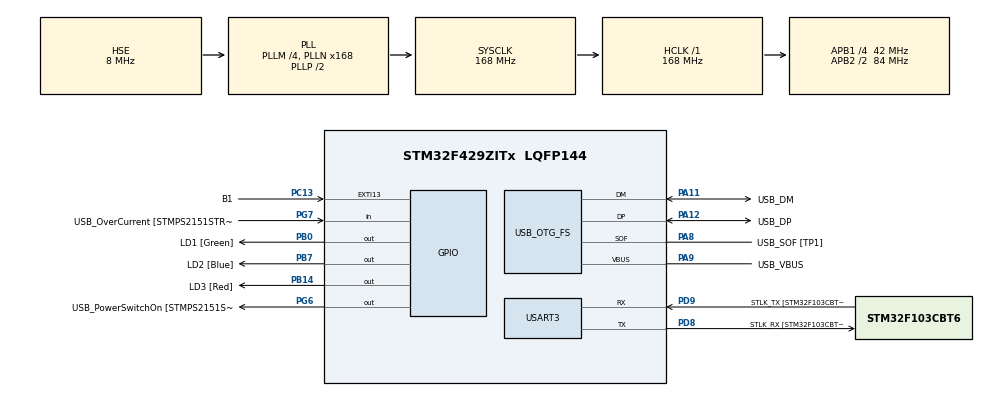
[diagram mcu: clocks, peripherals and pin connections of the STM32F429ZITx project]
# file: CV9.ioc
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Mcu.Family=STM32F4
Mcu.Name=STM32F429ZITx
Mcu.Package=LQFP144
NVIC.OTG_FS_IRQn=true\:0\:0\:false\:false\:true\:false\:true\:true
NVIC.PriorityGroup=NVIC_PRIORITYGROUP_4
PA1.GPIO_Label=RMII_REF_CLK [LAN8742A-CZ-TR_REFCLK0]
PA1.Signal=ETH_REF_CLK
PA10.GPIO_Label=USB_ID
PA10.Signal=USB_OTG_FS_ID
PA11.GPIO_Label=USB_DM
PA11.Mode=Device_Only
PA11.Signal=USB_OTG_FS_DM
PA12.GPIO_Label=USB_DP
PA12.Mode=Device_Only
PA12.Signal=USB_OTG_FS_DP
PA13.GPIO_Label=TMS
PA13.Mode=Serial_Wire
PA13.Signal=SYS_JTMS-SWDIO
PA14.GPIO_Label=TCK
PA14.Mode=Serial_Wire
PA14.Signal=SYS_JTCK-SWCLK
PA2.GPIO_Label=RMII_MDIO [LAN8742A-CZ-TR_MDIO]
PA2.Signal=ETH_MDIO
PA7.GPIO_Label=RMII_CRS_DV [LAN8742A-CZ-TR_CRS_DV]
PA7.Signal=ETH_CRS_DV
PA8.GPIO_Label=USB_SOF [TP1]
PA8.Mode=Activate_SOF_FS
PA8.Signal=USB_OTG_FS_SOF
PA9.GPIO_Label=USB_VBUS
PA9.Mode=Activate_VBUS
PA9.Signal=USB_OTG_FS_VBUS
PB0.GPIO_Label=LD1 [Green]
PB0.Signal=GPIO_Output
PB13.GPIO_Label=RMII_TXD1 [LAN8742A-CZ-TR_TXD1]
PB13.Signal=ETH_TXD1
PB14.GPIO_Label=LD3 [Red]
PB14.Signal=GPIO_Output
PB7.GPIO_Label=LD2 [Blue]
PB7.Signal=GPIO_Output
PC1.GPIO_Label=RMII_MDC [LAN8742A-CZ-TR_MDC]
PC1.Signal=ETH_MDC
PC13.GPIO_Label=B1
PC13.Signal=GPXTI13
PC14/OSC32_IN.Mode=LSE-External-Oscillator
PC14/OSC32_IN.Signal=RCC_OSC32_IN
PC15/OSC32_OUT.Mode=LSE-External-Oscillator
PC15/OSC32_OUT.Signal=RCC_OSC32_OUT
PC4.GPIO_Label=RMII_RXD0 [LAN8742A-CZ-TR_RXD0]
PC4.Signal=ETH_RXD0
PC5.GPIO_Label=RMII_RXD1 [LAN8742A-CZ-TR_RXD1]
PC5.Signal=ETH_RXD1
PD8.GPIO_Label=STLK_RX [STM32F103CBT6_PA3]
PD8.Mode=Asynchronous
PD8.Signal=USART3_TX
PD9.GPIO_Label=STLK_TX [STM32F103CBT6_PA2]
PD9.Mode=Asynchronous
PD9.Signal=USART3_RX
PG11.GPIO_Label=RMII_TX_EN [LAN8742A-CZ-TR_TXEN]
PG11.Signal=ETH_TX_EN
PG13.GPIO_Label=RMII_TXD0 [LAN8742A-CZ-TR_TXD0]
PG13.Signal=ETH_TXD0
PG6.GPIO_Label=USB_PowerSwitchOn [STMPS2151STR_EN]
PG6.Signal=GPIO_Output
PG7.GPIO_Label=USB_OverCurrent [STMPS2151STR_FAULT]
PG7.Signal=GPIO_Input
PH0/OSC_IN.GPIO_Label=MCO [STM32F103CBT6_PA8]
PH0/OSC_IN.Mode=HSE-External-Clock-Source
PH0/OSC_IN.Signal=RCC_OSC_IN
PH1/OSC_OUT.Mode=HSE-External-Clock-Source
PH1/OSC_OUT.Signal=RCC_OSC_OUT
ProjectManager.HeapSize=0x200
ProjectManager.StackSize=0x400
ProjectManager.TargetToolchain=STM32CubeIDE
RCC.48MHZClocksFreq_Value=48000000
RCC.AHBFreq_Value=168000000
RCC.APB1CLKDivider=RCC_HCLK_DIV4
RCC.APB1Freq_Value=42000000
RCC.APB1TimFreq_Value=84000000
RCC.APB2CLKDivider=RCC_HCLK_DIV2
RCC.APB2Freq_Value=84000000
RCC.APB2TimCLKDivider=2
RCC.APB2TimFreq_Value=168000000
RCC.CortexFreq_Value=168000000
RCC.HCLKFreq_Value=168000000
RCC.HSE_VALUE=8000000
RCC.HSI_VALUE=16000000
RCC.PLLM=4
RCC.PLLMUL=RCC_PLL_MUL9
RCC.PLLN=168
RCC.PLLQ=7
RCC.PRESCALERUSB=RCC_USBCLKSOURCE_PLL_DIV1_5
RCC.SYSCLKFreq_VALUE=168000000
RCC.SYSCLKSource=RCC_SYSCLKSOURCE_PLLCLK
RCC.SYSCLKSourceVirtual=RCC_SYSCLKSOURCE_PLLCLK
RCC.USBFreq_Value=48000000
RCC.VCOOutputFreq_Value=336000000
USART3.VirtualMode=VM_ASYNC
USB_DEVICE.CLASS_NAME_FS=HID
USB_DEVICE.VirtualMode-HID_FS=Hid
USB_DEVICE.VirtualModeFS=Hid_FS
USB_OTG_FS.VirtualMode=Device_Only
VP_USB_DEVICE_VS_USB_DEVICE_HID_FS.Mode=HID_FS
board=NUCLEO-F429ZI

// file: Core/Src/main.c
/* USER CODE BEGIN Header */
/**
  ******************************************************************************
  * @file           : main.c
  * @brief          : Main program body
  ******************************************************************************
  * @attention
  *
  * Copyright (c) 2025 STMicroelectronics.
  * All rights reserved.
  *
  * This software is licensed under terms that can be found in the LICENSE file
  * in the root directory of this software component.
  * If no LICENSE file comes with this software, it is provided AS-IS.
  *
  ******************************************************************************
  */
/* USER CODE END Header */
#include "main.h"
#include "usb_device.h"

/* USER CODE BEGIN Includes */
#include "usbd_hid.h"
#include <stdbool.h>
#include <stdint.h>
#include <math.h>
/* USER CODE END Includes */

UART_HandleTypeDef huart3;

/* USER CODE BEGIN PV */
extern USBD_HandleTypeDef hUsbDeviceFS;

/* USER CODE END PV */

void SystemClock_Config(void);
static void MX_GPIO_Init(void);
static void MX_USART3_UART_Init(void);
/* USER CODE BEGIN PFP */

void step(int x, int y, bool btn);
void circle(int radius, int divide);
void smiley(void);

/* USER CODE END PFP */

int main(void)
{

  /* MCU Configuration--------------------------------------------------------*/

  /* Reset of all peripherals, Initializes the Flash interface and the Systick. */
  HAL_Init();

  /* Configure the system clock */
  SystemClock_Config();

  /* Initialize all configured peripherals */
  MX_GPIO_Init();
  MX_USART3_UART_Init();
  MX_USB_DEVICE_Init();

  /* Infinite loop */
  /* USER CODE BEGIN WHILE */
  while (1)
  {

	  static uint8_t end = 1;

	  uint8_t now = HAL_GPIO_ReadPin(B1_GPIO_Port, B1_Pin);

	  if (end == 1 && now == 0){
		  smiley();
	  }

	  end = now;

    /* USER CODE END WHILE */

  }
}

void SystemClock_Config(void)
{
  RCC_OscInitTypeDef RCC_OscInitStruct = {0};
  RCC_ClkInitTypeDef RCC_ClkInitStruct = {0};

  /** Configure the main internal regulator output voltage
  */
  __HAL_RCC_PWR_CLK_ENABLE();
  __HAL_PWR_VOLTAGESCALING_CONFIG(PWR_REGULATOR_VOLTAGE_SCALE1);

  /** Initializes the RCC Oscillators according to the specified parameters
  * in the RCC_OscInitTypeDef structure.
  */
  RCC_OscInitStruct.OscillatorType = RCC_OSCILLATORTYPE_HSE;
  RCC_OscInitStruct.HSEState = RCC_HSE_BYPASS;
  RCC_OscInitStruct.PLL.PLLState = RCC_PLL_ON;
  RCC_OscInitStruct.PLL.PLLSource = RCC_PLLSOURCE_HSE;
  RCC_OscInitStruct.PLL.PLLM = 4;
  RCC_OscInitStruct.PLL.PLLN = 168;
  RCC_OscInitStruct.PLL.PLLP = RCC_PLLP_DIV2;
  RCC_OscInitStruct.PLL.PLLQ = 7;
  if (HAL_RCC_OscConfig(&RCC_OscInitStruct) != HAL_OK)
  {
    Error_Handler();
  }

  /** Initializes the CPU, AHB and APB buses clocks
  */
  RCC_ClkInitStruct.ClockType = RCC_CLOCKTYPE_HCLK|RCC_CLOCKTYPE_SYSCLK
                              |RCC_CLOCKTYPE_PCLK1|RCC_CLOCKTYPE_PCLK2;
  RCC_ClkInitStruct.SYSCLKSource = RCC_SYSCLKSOURCE_PLLCLK;
  RCC_ClkInitStruct.AHBCLKDivider = RCC_SYSCLK_DIV1;
  RCC_ClkInitStruct.APB1CLKDivider = RCC_HCLK_DIV4;
  RCC_ClkInitStruct.APB2CLKDivider = RCC_HCLK_DIV2;

  if (HAL_RCC_ClockConfig(&RCC_ClkInitStruct, FLASH_LATENCY_5) != HAL_OK)
  {
    Error_Handler();
  }
}

static void MX_USART3_UART_Init(void)
{

  huart3.Instance = USART3;
  huart3.Init.BaudRate = 115200;
  huart3.Init.WordLength = UART_WORDLENGTH_8B;
  huart3.Init.StopBits = UART_STOPBITS_1;
  huart3.Init.Parity = UART_PARITY_NONE;
  huart3.Init.Mode = UART_MODE_TX_RX;
  huart3.Init.HwFlowCtl = UART_HWCONTROL_NONE;
  huart3.Init.OverSampling = UART_OVERSAMPLING_16;
  if (HAL_UART_Init(&huart3) != HAL_OK)
  {
    Error_Handler();
  }

}

static void MX_GPIO_Init(void)
{
  GPIO_InitTypeDef GPIO_InitStruct = {0};

  /* GPIO Ports Clock Enable */
  __HAL_RCC_GPIOC_CLK_ENABLE();
  __HAL_RCC_GPIOH_CLK_ENABLE();
  __HAL_RCC_GPIOA_CLK_ENABLE();
  __HAL_RCC_GPIOB_CLK_ENABLE();
  __HAL_RCC_GPIOD_CLK_ENABLE();
  __HAL_RCC_GPIOG_CLK_ENABLE();

  /*Configure GPIO pin Output Level */
  HAL_GPIO_WritePin(GPIOB, LD1_Pin|LD3_Pin|LD2_Pin, GPIO_PIN_RESET);

  /*Configure GPIO pin Output Level */
  HAL_GPIO_WritePin(USB_PowerSwitchOn_GPIO_Port, USB_PowerSwitchOn_Pin, GPIO_PIN_RESET);

  /*Configure GPIO pin : B1_Pin */
  GPIO_InitStruct.Pin = B1_Pin;
  GPIO_InitStruct.Mode = GPIO_MODE_IT_RISING;
  GPIO_InitStruct.Pull = GPIO_NOPULL;
  HAL_GPIO_Init(B1_GPIO_Port, &GPIO_InitStruct);

  /*Configure GPIO pins : RMII_MDC_Pin RMII_RXD0_Pin RMII_RXD1_Pin */
  GPIO_InitStruct.Pin = RMII_MDC_Pin|RMII_RXD0_Pin|RMII_RXD1_Pin;
  GPIO_InitStruct.Mode = GPIO_MODE_AF_PP;
  GPIO_InitStruct.Pull = GPIO_NOPULL;
  GPIO_InitStruct.Speed = GPIO_SPEED_FREQ_VERY_HIGH;
  GPIO_InitStruct.Alternate = GPIO_AF11_ETH;
  HAL_GPIO_Init(GPIOC, &GPIO_InitStruct);

  /*Configure GPIO pins : RMII_REF_CLK_Pin RMII_MDIO_Pin RMII_CRS_DV_Pin */
  GPIO_InitStruct.Pin = RMII_REF_CLK_Pin|RMII_MDIO_Pin|RMII_CRS_DV_Pin;
  GPIO_InitStruct.Mode = GPIO_MODE_AF_PP;
  GPIO_InitStruct.Pull = GPIO_NOPULL;
  GPIO_InitStruct.Speed = GPIO_SPEED_FREQ_VERY_HIGH;
  GPIO_InitStruct.Alternate = GPIO_AF11_ETH;
  HAL_GPIO_Init(GPIOA, &GPIO_InitStruct);

  /*Configure GPIO pins : LD1_Pin LD3_Pin LD2_Pin */
  GPIO_InitStruct.Pin = LD1_Pin|LD3_Pin|LD2_Pin;
  GPIO_InitStruct.Mode = GPIO_MODE_OUTPUT_PP;
  GPIO_InitStruct.Pull = GPIO_NOPULL;
  GPIO_InitStruct.Speed = GPIO_SPEED_FREQ_LOW;
  HAL_GPIO_Init(GPIOB, &GPIO_InitStruct);

  /*Configure GPIO pin : RMII_TXD1_Pin */
  GPIO_InitStruct.Pin = RMII_TXD1_Pin;
  GPIO_InitStruct.Mode = GPIO_MODE_AF_PP;
  GPIO_InitStruct.Pull = GPIO_NOPULL;
  GPIO_InitStruct.Speed = GPIO_SPEED_FREQ_VERY_HIGH;
  GPIO_InitStruct.Alternate = GPIO_AF11_ETH;
  HAL_GPIO_Init(RMII_TXD1_GPIO_Port, &GPIO_InitStruct);

  /*Configure GPIO pin : USB_PowerSwitchOn_Pin */
  GPIO_InitStruct.Pin = USB_PowerSwitchOn_Pin;
  GPIO_InitStruct.Mode = GPIO_MODE_OUTPUT_PP;
  GPIO_InitStruct.Pull = GPIO_NOPULL;
  GPIO_InitStruct.Speed = GPIO_SPEED_FREQ_LOW;
  HAL_GPIO_Init(USB_PowerSwitchOn_GPIO_Port, &GPIO_InitStruct);

  /*Configure GPIO pin : USB_OverCurrent_Pin */
  GPIO_InitStruct.Pin = USB_OverCurrent_Pin;
  GPIO_InitStruct.Mode = GPIO_MODE_INPUT;
  GPIO_InitStruct.Pull = GPIO_NOPULL;
  HAL_GPIO_Init(USB_OverCurrent_GPIO_Port, &GPIO_InitStruct);

  /*Configure GPIO pins : RMII_TX_EN_Pin RMII_TXD0_Pin */
  GPIO_InitStruct.Pin = RMII_TX_EN_Pin|RMII_TXD0_Pin;
  GPIO_InitStruct.Mode = GPIO_MODE_AF_PP;
  GPIO_InitStruct.Pull = GPIO_NOPULL;
  GPIO_InitStruct.Speed = GPIO_SPEED_FREQ_VERY_HIGH;
  GPIO_InitStruct.Alternate = GPIO_AF11_ETH;
  HAL_GPIO_Init(GPIOG, &GPIO_InitStruct);

}

/* USER CODE BEGIN 4 */

void step(int x, int y, bool btn){

	  uint8_t buff[4];
	  buff[0] = btn ? 0x01 : 0x00;
	  buff[1] = (int8_t)x;
	  buff[2] = (int8_t)y;
	  buff[3] = 0; // no scroll

	  USBD_HID_SendReport(&hUsbDeviceFS, buff, sizeof(buff));
	  HAL_Delay(USBD_HID_GetPollingInterval(&hUsbDeviceFS));

}

void circle(int radius, int divide)
{
	const int steps = 50;
	float angle_step = 2.0f * M_PI / steps;

	// calculate start step
	float a0 = 0;
	int start_x = radius * cosf(a0);
	int start_y = radius * sinf(a0);

	// move to start
	step(start_x, start_y, false);

	step(0, 0, true);

	int draw_x = start_x;
	int draw_y = start_y;

	for (int i = 1; i <= steps/divide; i++)
	{
		float a = i * angle_step;
		int x = radius * cosf(a);
		int y = radius * sinf(a);
		// draw half circle
		step(x - draw_x, y - draw_y, true);

		draw_x = x;
		draw_y = y;
	}

	step(0, 0, false);
}

void smiley(void)
{
    // circle
    step(0, 0, false);
    circle(80, 1);

    // left eye
    step(-65, -15, false);
    circle(8, 1);

    // right eye
    step(40, 0, false);
    circle(8, 1);

    // nose
    step(-20, 25, false);
    step(0, 0, true);
    step(0, -15, true);
    step(0, 0, false);

    // mouth
    step(-20, 20, false);
    circle(30, 2);

}

/* USER CODE END 4 */

void Error_Handler(void)
{
  __disable_irq();
  while (1)
  {
  }
}
